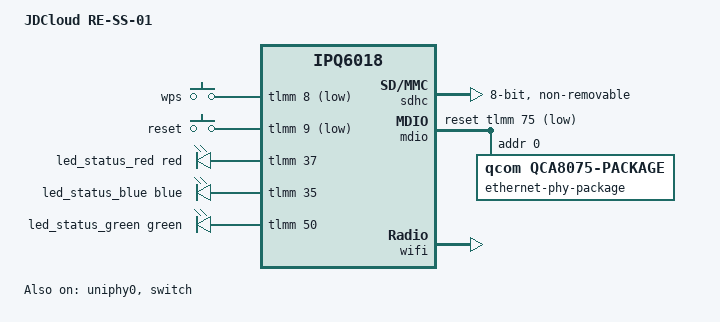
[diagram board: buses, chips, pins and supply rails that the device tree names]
// SPDX-License-Identifier: GPL-2.0-or-later OR MIT

/dts-v1/;

#include "ipq6018.dtsi"
#include "ipq6018-ess.dtsi"
#include "ipq6018-nss.dtsi"
#include "ipq6018-common.dtsi"

#include <dt-bindings/gpio/gpio.h>
#include <dt-bindings/input/input.h>
#include <dt-bindings/leds/common.h>

/ {
	model = "JDCloud RE-SS-01";
	compatible = "jdcloud,re-ss-01", "qcom,ipq6018";

	aliases {
		ethernet1 = &swport2;
		ethernet2 = &swport3;
		ethernet3 = &swport4;
		ethernet4 = &swport5;
		serial0 = &blsp1_uart3;

		label-mac-device = &swport2;
		led-boot = &led_status_red;
		led-failsafe = &led_status_red;
		led-running = &led_status_green;
		led-upgrade = &led_status_red;
	};

	chosen {
		stdout-path = "serial0:115200n8";
	};

	keys {
		compatible = "gpio-keys";

		wps {
			label = "wps";
			linux,code = <KEY_WPS_BUTTON>;
			gpios = <&tlmm 8 GPIO_ACTIVE_LOW>;
		};

		reset {
			label = "reset";
			linux,code = <KEY_RESTART>;
			gpios = <&tlmm 9 GPIO_ACTIVE_LOW>;
		};
	};

	leds {
		compatible = "gpio-leds";

		led_status_red: red {
			color = <LED_COLOR_ID_RED>;
			function = LED_FUNCTION_STATUS;
			gpios = <&tlmm 37 GPIO_ACTIVE_HIGH>;
		};

		led_status_blue: blue {
			color = <LED_COLOR_ID_BLUE>;
			function = LED_FUNCTION_STATUS;
			gpios = <&tlmm 35 GPIO_ACTIVE_HIGH>;
		};

		led_status_green: green {
			color = <LED_COLOR_ID_GREEN>;
			function = LED_FUNCTION_STATUS;
			gpios = <&tlmm 50 GPIO_ACTIVE_HIGH>;
		};
	};
};

&sdhc {
	status = "okay";

	bus-width = <8>;
	mmc-ddr-1_8v;
	mmc-hs200-1_8v;
	non-removable;
};

&mdio {
	status = "okay";

	pinctrl-0 = <&mdio_pins>;
	pinctrl-names = "default";
	reset-gpios = <&tlmm 75 GPIO_ACTIVE_LOW>;

	ethernet-phy-package@0 {
		compatible = "qcom,qca8075-package";
		qcom,package-mode = "psgmii";
		#address-cells = <1>;
		#size-cells = <0>;
		reg = <0>;

		qca8075_1: ethernet-phy@1 {
			compatible = "ethernet-phy-ieee802.3-c22";
			reg = <1>;
		};

		qca8075_2: ethernet-phy@2 {
			compatible = "ethernet-phy-ieee802.3-c22";
			reg = <2>;
		};

		qca8075_3: ethernet-phy@3 {
			compatible = "ethernet-phy-ieee802.3-c22";
			reg = <3>;
		};

		qca8075_4: ethernet-phy@4 {
			compatible = "ethernet-phy-ieee802.3-c22";
			reg = <4>;
		};
	};
};

&uniphy0 {
	status = "okay";
};

&switch {
	status = "okay";

	ports {
		#address-cells = <1>;
		#size-cells = <0>;

		port@0 {
			reg = <0>;
			ethernet = <&edma>;
			phy-mode = "internal";

			fixed-link {
				speed = <1000>;
				full-duplex;
			};
		};

		swport2: port@2 {
			reg = <2>;
			label = "lan1";
			phy-handle = <&qca8075_1>;
			phy-mode = "psgmii";
			pcs-handle = <&uniphy0 1>;
		};

		swport3: port@3 {
			reg = <3>;
			label = "lan2";
			phy-handle = <&qca8075_2>;
			phy-mode = "psgmii";
			pcs-handle = <&uniphy0 2>;
		};

		swport4: port@4 {
			reg = <4>;
			label = "lan3";
			phy-handle = <&qca8075_3>;
			phy-mode = "psgmii";
			pcs-handle = <&uniphy0 3>;
		};

		swport5: port@5 {
			reg = <5>;
			label = "wan";
			phy-handle = <&qca8075_4>;
			phy-mode = "psgmii";
			pcs-handle = <&uniphy0 4>;
		};
	};
};

&edma {
	status = "okay";
};

&wifi {
	status = "okay";
	qcom,ath11k-fw-memory-mode = <1>;
	qcom,ath11k-calibration-variant = "JDC-RE-SS-01";
};
